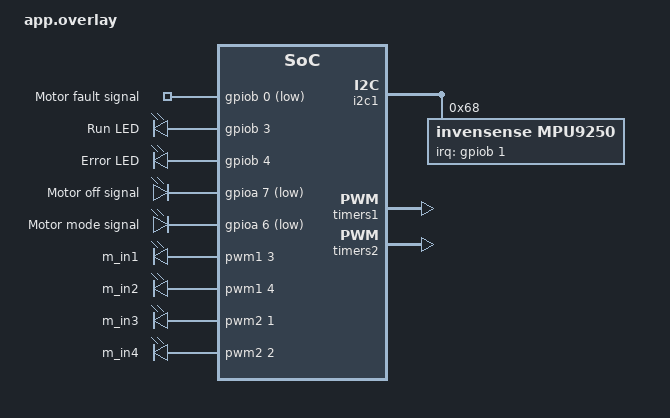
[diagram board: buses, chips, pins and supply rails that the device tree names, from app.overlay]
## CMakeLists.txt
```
cmake_minimum_required(VERSION 3.20.0)
set(BOARD nucleo_l432kc)

find_package(Zephyr)
project(RBFPID-Balbot)

file(GLOB SRC src/*.cpp)
target_sources(app PRIVATE src/main.c  ${SRC})
set(gen_dir ${ZEPHYR_BINARY_DIR}/include/generated/)
```

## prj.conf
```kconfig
# language and library 
CONFIG_NEWLIB_LIBC=y
CONFIG_NEWLIB_LIBC_FLOAT_PRINTF=y
CONFIG_CPP=y
CONFIG_GLIBCXX_LIBCPP=y
CONFIG_CBPRINTF_FP_SUPPORT=y

# Logging conf
CONFIG_LOG=y
CONFIG_LOG_MODE_DEFERRED=y
CONFIG_LOG_FUNC_NAME_PREFIX_DBG=y
CONFIG_LOG_FUNC_NAME_PREFIX_ERR=y
CONFIG_LOG_FUNC_NAME_PREFIX_WRN=y

# Console
CONFIG_UART_CONSOLE=n

# Serial
CONFIG_SERIAL=y

# Memory
CONFIG_INIT_STACKS=y
CONFIG_MAIN_STACK_SIZE=2048
CONFIG_CODE_DATA_RELOCATION=n

# Kernel
CONFIG_REBOOT=y
CONFIG_EVENTS=y

# Sensor 
CONFIG_I2C=y
CONFIG_SENSOR=y
CONFIG_MPU9250=y

CONFIG_PWM=y
CONFIG_PWM_STM32=y
```

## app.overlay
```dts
&i2c1 {
    mpu9250@68 {
        compatible = "invensense,mpu9250";
        reg = <0x68>;
        status = "okay";
        irq-gpios = <&gpiob 1 GPIO_ACTIVE_HIGH>;
        gyro-sr-div = <0>;
        gyro-dlpf = <5>;
        gyro-fs = <250>;
        accel-fs = <2>;
        accel-dlpf = "5.05";
    };
};

&timers1 {
    status = "okay";

    pwm1: pwm {
        status = "okay";
        pinctrl-0 = <&tim1_ch3_pa10 &tim1_ch4_pa11>;
        pinctrl-names = "default";
    };

    qdec {
        compatible = "st,stm32-qdec";
        status = "disabled";
        pinctrl-0 = <&tim1_ch1_pa8 &tim1_ch2_pa9>;
        pinctrl-names = "default";
        st,counts-per-revolution = <1320>;
    };
};

&timers2 {
    status = "okay";

    pwm2: pwm {
        status = "okay";
        pinctrl-0 = <&tim2_ch1_pa5 &tim2_ch2_pa1>;
        pinctrl-names = "default";
    };
};

/ {
    buttons {
        compatible = "gpio-keys";
        m_fault: m_fault {
            gpios = <&gpiob 0 (GPIO_PULL_UP | GPIO_ACTIVE_LOW)>;
            label = "Motor fault signal";
        };
    };

    leds {
        compatible = "gpio-leds";
        run_led: led_pd1 {
            gpios = <&gpiob 3 GPIO_ACTIVE_HIGH>;
            label = "Run LED";
        };
        err_led: led_pd0 {
            gpios = <&gpiob 4 GPIO_ACTIVE_HIGH>;
            label = "Error LED";
        };
        m_off: out_pa7 {
            gpios = <&gpioa 7 GPIO_ACTIVE_LOW>;
            label = "Motor off signal";
        };
        m_mode: out_pa6 {
            gpios = <&gpioa 6 GPIO_ACTIVE_LOW>;
            label = "Motor mode signal";
        };
    };

    pwm-leds {
		compatible = "pwm-leds";
		status = "okay";
		m_in1: pwm_pa10 {
			pwms = <&pwm1 3 PWM_MSEC(1) PWM_POLARITY_NORMAL>;
		};
        m_in2: pwm_pa11 {
			pwms = <&pwm1 4 PWM_MSEC(1) PWM_POLARITY_NORMAL>;
		};
        m_in3: pwm_pa5 {
			pwms = <&pwm2 1 PWM_MSEC(1) PWM_POLARITY_NORMAL>;
		};
        m_in4: pwm_pa1 {
			pwms = <&pwm2 2 PWM_MSEC(1) PWM_POLARITY_NORMAL>;
		};
	};
};
```

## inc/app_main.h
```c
#ifndef RBFPIDBALBOT_APP_MAIN
#define RBFPIDBALBOT_APP_MAIN

#ifdef __cplusplus
extern "C" {
#endif

void AppMain(void);

#ifdef __cplusplus
}
#endif

#endif
```

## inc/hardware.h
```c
#ifndef RBFPIDBALBOT_HARDWARE
#define RBFPIDBALBOT_HARDWARE

/* zephyr device and driver */
#include <zephyr/device.h>
#include <zephyr/drivers/gpio.h>
#include <zephyr/drivers/pwm.h>
#include <zephyr/drivers/sensor.h>

/* std headers */
#include <array>

namespace RbfpidBalbot {
namespace hardware {

extern const struct gpio_dt_spec run_led, err_led, m_off, m_fault, m_mode;
extern const struct pwm_dt_spec m_in1, m_in2, m_in3, m_in4;
extern const struct device *imu, *serial;

int CheckHardware();
int InitHardware();
int ReadIMU(std::array<double, 3> &accel, std::array<double, 3> &gyro, std::array<double, 3> &magn);
int SetMotor(bool off, double percentile);
int SerialTx(uint8_t *buf, int len);

};  // namespace hardware
};  // namespace RbfpidBalbot

#endif
```

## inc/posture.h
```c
#ifndef RBFPIDBALBOT_POSTURE
#define RBFPIDBALBOT_POSTURE

#include <array>

//=====================================================================================================
// MahonyAHRS is from below with GPLv2
//=====================================================================================================
//
// Madgwick's implementation of Mayhony's AHRS algorithm.
// See: http://www.x-io.co.uk/open_source_ahrs_and_imu_algorithms
//
// Date			Author			Notes
// 29/09/2011	SOH Madgwick    Initial release
// 02/10/2011	SOH Madgwick	Optimised for reduced CPU load
//
//=====================================================================================================

namespace RbfpidBalbot {
namespace posture {
class MahonyAHRS {
 private:
  float dt_;
  float twoKp_, twoKi_;  // 2 * P, I gain
  std::array<float, 4> q_;  // quaternion of sensor frame relative to auxiliary frame
  std::array<float, 3> integralFB_;  // integral error terms scaled by Ki
  static float invSqrt(float x);

 public:
  MahonyAHRS(float dt, float Kp = 0.5, float Ki = 0.0);
  void Update(float gx, float gy, float gz, float ax, float ay, float az);
  void Update(float gx, float gy, float gz, float ax, float ay, float az,
              float mx, float my, float mz);
  std::array<float, 4> GetQuaternion();
  std::array<double, 3> GetEuler();
};
};  // namespace posture
};  // namespace RbfpidBalbot

#endif
```

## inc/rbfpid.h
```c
#ifndef RBFPIDBALBOT_RBFPID
#define RBFPIDBALBOT_RBFPID

#include "../Eigen/Dense"
#include <tuple>

namespace RbfpidBalbot {
namespace control {
class RBFPID {
 private:
  /* PID controller parameters */
  double ek_, ek1_, ek2_;  // e(k), e(k-1), e(k-2)
  double sumek_;
  double xc1_, xc2_, xc3_;  // xc(1), xc(2), xc(3)
  double u_, du_, u_limit_;
  double kp_, ki_, kd_;
  

  /* RBF NN parameters */
  const int n_, m_;
  Eigen::MatrixXd X_;               // input X [n x 1]
  Eigen::MatrixXd Ck_, Ck1_, Ck2_;  // center vector C [m x n]
  Eigen::MatrixXd H_;               // radial vector [m x 1]
  Eigen::MatrixXd Bk_, Bk1_, Bk2_;  // radial width vector B [m x 1]
  Eigen::MatrixXd Wk_, Wk1_, Wk2_;  // weight vector W [m x 1]
  double yk_, yk1_;                 // output of plant
  double ym_;                       // output of RBF NN
  double J_;                        // jacobian information of RBF NN
  double lr_, mg_, gain_mg_;        // learning rate and momentum factor
 public:
  /**
   * @brief Construct a new RBFPID object
   *
   * @param n size of input
   * @param m size of hidden
   * @param mg momentum factor
   * @param gain_mg momentum factor for only PID gain changing
   * @param lr learning rate
   * @param init_kp initial P gain
   * @param init_ki initial I gain
   * @param init_kd initial D gain
   * @param u_limit reset threshold of abs(output)
   * @param init_rbf_width initial rbf nn width
   * @param init_rbf_weight initial rbf nn weight
   */
  RBFPID(int n, int m, double gain_mg, double init_kp, double init_ki,
         double init_kd, double u_limit, double init_rbf_width = 3.0,
         double init_rbf_weight = 0.01, double mg = 0.25, double lr = 0.05);
  /**
   * @brief Update controller
   *
   * @param e error (input of controller)
   * @param y result (output of plant)
   * @return double output (input of plant)
   */
  double Update(double e, double y);

  std::tuple<double, double, double> ReadGain();
};
};  // namespace control
};  // namespace RbfpidBalbot

#endif
```

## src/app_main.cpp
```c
#include "../inc/app_main.h"

#include <stdio.h>
#include <zephyr/kernel.h>
#include <zephyr/logging/log.h>

#include <string>
#include <vector>

#include "../inc/hardware.h"
#include "../inc/posture.h"
#include "../inc/rbfpid.h"

LOG_MODULE_REGISTER(app_main);

using namespace RbfpidBalbot;

void AppMain(void) {
  LOG_INF("hardware initialization start");
  if (int ret = hardware::CheckHardware(); ret < 0) {
    LOG_ERR("fail to check hardware, ret=%d", ret);
    gpio_pin_set_dt(&hardware::err_led, 1);
    return;
  }
  if (int ret = hardware::InitHardware(); ret < 0) {
    LOG_ERR("fail to initiate hardware, ret=%d", ret);
    gpio_pin_set_dt(&hardware::err_led, 1);
    return;
  }
  LOG_INF("hardware initialization complete");

  /* application logic */
  LOG_INF("application started");
  LOG_INF("RBF-PID Balbot");

  const int dt_ms = 2;
  const double u_motor_factor = 500;
  std::array<double, 3> d_accel, d_gyro, d_magn, euler;
  std::array<float, 3> f_accel, f_gyro, f_magn;
  std::array<float, 4> quad;
  posture::MahonyAHRS mahony((float)dt_ms / 1000, 100, 100);
  control::RBFPID pid(3, 8, pow(10, 4), 100, 300, 10, u_motor_factor * 0.9);
  long i = 0;
  double u, uf;
  char telemetry[100];
  auto gain = pid.ReadGain();

  for (;;) {
    k_sleep(K_MSEC(dt_ms));
    i++;

    if (int ret = hardware::ReadIMU(d_accel, d_gyro, d_magn); ret < 0) {
      LOG_ERR("fail to read IMU, ret=%d", ret);
      gpio_pin_set_dt(&hardware::err_led, 1);
      continue;
    }

    for (int i = 0; i < 3; i++) {
      f_accel[i] = (float)d_accel[i];
      f_gyro[i] = (float)d_accel[i];
      f_magn[i] = (float)d_magn[i];
    }

    mahony.Update(f_gyro[0], f_gyro[1], f_gyro[2], f_accel[0], f_accel[1],
                  f_accel[2], f_magn[0], f_magn[1], f_magn[2]);
    euler = mahony.GetEuler();
    quad = mahony.GetQuaternion();
    u = pid.Update(-euler[0], euler[0]);
    uf = (u / u_motor_factor);  //+ (u >= 0 ? 0.3 : -0.3);
    hardware::SetMotor(false, uf);
    if (i % 50 == 0) {
      LOG_INF("e %6f u %6f uf %6f", -euler[0], u, uf);
      gpio_pin_toggle_dt(&hardware::run_led);
      gain = pid.ReadGain();
      sprintf(telemetry, "%.2f,%.2f,%.2f,%.2f,%.2f,%.2f\n",
              (float)k_uptime_get() / 1000.0F, -euler[0], uf, std::get<0>(gain),
              std::get<1>(gain), std::get<2>(gain));
      hardware::SerialTx((uint8_t*)telemetry, strlen(telemetry));
      // LOG_INF("q %f %f %f %f", quad[0], quad[1], quad[2], quad[3]);
    }
  }
}
```

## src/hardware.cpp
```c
#include "../inc/hardware.h"

#include <errno.h>
#include <stdint.h>
#include <zephyr/drivers/uart.h>
#include <zephyr/logging/log.h>

#include <cmath>
#include <vector>

LOG_MODULE_REGISTER(hardware);

using namespace RbfpidBalbot;

const struct gpio_dt_spec hardware::run_led =
    GPIO_DT_SPEC_GET(DT_NODELABEL(run_led), gpios);
const struct gpio_dt_spec hardware::err_led =
    GPIO_DT_SPEC_GET(DT_NODELABEL(err_led), gpios);

const struct gpio_dt_spec hardware::m_off =
    GPIO_DT_SPEC_GET(DT_NODELABEL(m_off), gpios);
const struct gpio_dt_spec hardware::m_fault =
    GPIO_DT_SPEC_GET(DT_NODELABEL(m_fault), gpios);
const struct gpio_dt_spec hardware::m_mode =
    GPIO_DT_SPEC_GET(DT_NODELABEL(m_mode), gpios);

const struct pwm_dt_spec hardware::m_in1 = PWM_DT_SPEC_GET(DT_NODELABEL(m_in1));
const struct pwm_dt_spec hardware::m_in2 = PWM_DT_SPEC_GET(DT_NODELABEL(m_in2));
const struct pwm_dt_spec hardware::m_in3 = PWM_DT_SPEC_GET(DT_NODELABEL(m_in3));
const struct pwm_dt_spec hardware::m_in4 = PWM_DT_SPEC_GET(DT_NODELABEL(m_in4));

const struct device *hardware::serial = DEVICE_DT_GET(DT_NODELABEL(usart2));
const struct device *hardware::imu = DEVICE_DT_GET_ONE(invensense_mpu9250);

int hardware::CheckHardware() {
  /*
  check_list is pointer array of device struct and kChecklistSize define its
  size. CPP container is intentionally hestatied because it's system initialize
  code
  */
  std::vector<const device *> check_list = {
      run_led.port, err_led.port, imu,       m_off.port,
      m_fault.port, m_in1.dev,    m_in2.dev, serial};

  for (const auto l : check_list) {
    if (l == NULL) return -EINVAL;
    if (!device_is_ready(l)) return -ENODEV;
  }
  return 0;
}

int hardware::InitHardware() {
  gpio_pin_configure_dt(&hardware::run_led, GPIO_OUTPUT);
  gpio_pin_configure_dt(&hardware::err_led, GPIO_OUTPUT);
  gpio_pin_configure_dt(&hardware::m_off, GPIO_OUTPUT);
  gpio_pin_configure_dt(&hardware::m_fault, GPIO_INPUT);
  gpio_pin_configure_dt(&hardware::m_mode, GPIO_OUTPUT);
  gpio_pin_set_dt(&hardware::m_mode, 1);  // m_mode is active low

  struct uart_config uart_cfg = {
      .baudrate = 9600,
      .parity = UART_CFG_PARITY_NONE,
      .stop_bits = UART_CFG_STOP_BITS_1,
      .data_bits = UART_CFG_DATA_BITS_8,
      .flow_ctrl = UART_CFG_FLOW_CTRL_NONE,
  };
  return uart_configure(serial, &uart_cfg);
}

int hardware::ReadIMU(std::array<double, 3> &accel, std::array<double, 3> &gyro,
                      std::array<double, 3> &magn) {
  struct sensor_value tmp_a[3], tmp_g[3], tmp_m[3];
  int rc = sensor_sample_fetch(hardware::imu);

  if (rc == 0) {
    rc = sensor_channel_get(hardware::imu, SENSOR_CHAN_ACCEL_XYZ, tmp_a);
  }
  if (rc == 0) {
    rc = sensor_channel_get(hardware::imu, SENSOR_CHAN_GYRO_XYZ, tmp_g);
  }
  if (rc == 0) {
    rc = sensor_channel_get(hardware::imu, SENSOR_CHAN_MAGN_XYZ, tmp_m);
  }
  if (rc == 0) {
    for (int i = 0; i < 3; i++) {
      accel[i] = sensor_value_to_double(&tmp_a[i]);
      gyro[i] = sensor_value_to_double(&tmp_g[i]);
      magn[i] = sensor_value_to_double(&tmp_m[i]);
    }
  } else {
    LOG_ERR("sample fetch/get failed: %d\n", rc);
  }
  return rc;
}

int hardware::SetMotor(bool off, double percentile) {
  static const double period = 1000.0;
  /* m_off is active low (nSLEEP) */
  if (off) {
    gpio_pin_set_dt(&hardware::m_off, 1);
  } else {
    uint32_t pulse = (uint32_t)(period * std::abs(percentile));
    gpio_pin_set_dt(&hardware::m_off, 0);
    if (pulse >= (uint32_t)period) pulse = (uint32_t)period;

    /*
    IN1, 3 | IN2, 4
    0      | 0      - coast
    0      | 1      - reverse
    1      | 0      - forward
    1      | 1      - brake

    Left and Right motor attached at frame with counter direction
    */
    pwm_set_dt(&hardware::m_in1, (uint32_t)period, percentile <= 0 ? 0 : pulse);
    pwm_set_dt(&hardware::m_in2, (uint32_t)period, percentile >= 0 ? 0 : pulse);
    pwm_set_dt(&hardware::m_in3, (uint32_t)period, percentile >= 0 ? 0 : pulse);
    pwm_set_dt(&hardware::m_in4, (uint32_t)period, percentile <= 0 ? 0 : pulse);
  }
  return 0;
}

int hardware::SerialTx(uint8_t *buf, int len) {
  for (int i = 0; i < len; i++) {
    uart_poll_out(serial, (unsigned char) buf[i]);
  }
  return 0;
}
```

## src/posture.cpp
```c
#include "../inc/posture.h"

#include <zephyr/logging/log.h>

#include <cmath>

LOG_MODULE_REGISTER(posture);

using namespace std;
using namespace RbfpidBalbot;
using namespace RbfpidBalbot::posture;

MahonyAHRS::MahonyAHRS(float dt, float Kp, float Ki)
    : dt_(dt),
      twoKp_(2 * Kp),
      twoKi_(2 * Ki),
      integralFB_({0.0, 0.0, 0.0}),
      q_({1.0, 0.0, 0.0, 0.0}) {}

void MahonyAHRS::Update(float gx, float gy, float gz, float ax, float ay,
                        float az) {
  float recipNorm;
  float halfvx, halfvy, halfvz;
  float halfex, halfey, halfez;
  float qa, qb, qc;

  // Compute feedback only if accelerometer measurement valid (avoids NaN in
  // accelerometer normalisation)
  if (!((ax == 0.0f) && (ay == 0.0f) && (az == 0.0f))) {
    // Normalise accelerometer measurement
    recipNorm = invSqrt(ax * ax + ay * ay + az * az);
    ax *= recipNorm;
    ay *= recipNorm;
    az *= recipNorm;

    // Estimated direction of gravity and vector perpendicular to magnetic flux
    halfvx = q_[1] * q_[3] - q_[0] * q_[2];
    halfvy = q_[0] * q_[1] + q_[2] * q_[3];
    halfvz = q_[0] * q_[0] - 0.5f + q_[3] * q_[3];

    // Error is sum of cross product between estimated and measured direction of
    // gravity
    halfex = (ay * halfvz - az * halfvy);
    halfey = (az * halfvx - ax * halfvz);
    halfez = (ax * halfvy - ay * halfvx);

    // Compute and apply integral feedback if enabled
    if (twoKi_ > 0.0f) {
      integralFB_[0] += twoKi_ * halfex * dt_;  // integral error scaled by Ki
      integralFB_[1] += twoKi_ * halfey * dt_;
      integralFB_[2] += twoKi_ * halfez * dt_;
      gx += integralFB_[0];  // apply integral feedback
      gy += integralFB_[1];
      gz += integralFB_[2];
    } else {
      integralFB_[0] = 0.0f;  // prevent integral windup
      integralFB_[1] = 0.0f;
      integralFB_[2] = 0.0f;
    }

    // Apply proportional feedback
    gx += twoKp_ * halfex;
    gy += twoKp_ * halfey;
    gz += twoKp_ * halfez;
  }

  // Integrate rate of change of quaternion
  gx *= (0.5f * dt_);  // pre-multiply common factors
  gy *= (0.5f * dt_);
  gz *= (0.5f * dt_);
  qa = q_[0];
  qb = q_[1];
  qc = q_[2];
  q_[0] += (-qb * gx - qc * gy - q_[3] * gz);
  q_[1] += (qa * gx + qc * gz - q_[3] * gy);
  q_[2] += (qa * gy - qb * gz + q_[3] * gx);
  q_[3] += (qa * gz + qb * gy - qc * gx);

  // Normalise quaternion
  recipNorm =
      invSqrt(q_[0] * q_[0] + q_[1] * q_[1] + q_[2] * q_[2] + q_[3] * q_[3]);
  q_[0] *= recipNorm;
  q_[1] *= recipNorm;
  q_[2] *= recipNorm;
  q_[3] *= recipNorm;
}

void MahonyAHRS::Update(float gx, float gy, float gz, float ax, float ay,
                        float az, float mx, float my, float mz) {
  float recipNorm;
  float q0q0, q0q1, q0q2, q0q3, q1q1, q1q2, q1q3, q2q2, q2q3, q3q3;
  float hx, hy, bx, bz;
  float halfvx, halfvy, halfvz, halfwx, halfwy, halfwz;
  float halfex, halfey, halfez;
  float qa, qb, qc;

  // Use IMU algorithm if magnetometer measurement invalid (avoids NaN in
  // magnetometer normalisation)
  if ((mx == 0.0f) && (my == 0.0f) && (mz == 0.0f)) {
    Update(gx, gy, gz, ax, ay, az);
    return;
  }

  // Compute feedback only if accelerometer measurement valid (avoids NaN in
  // accelerometer normalisation)
  if (!((ax == 0.0f) && (ay == 0.0f) && (az == 0.0f))) {
    // Normalise accelerometer measurement
    recipNorm = invSqrt(ax * ax + ay * ay + az * az);
    ax *= recipNorm;
    ay *= recipNorm;
    az *= recipNorm;

    // Normalise magnetometer measurement
    recipNorm = invSqrt(mx * mx + my * my + mz * mz);
    mx *= recipNorm;
    my *= recipNorm;
    mz *= recipNorm;

    // Auxiliary variables to avoid repeated arithmetic
    q0q0 = q_[0] * q_[0];
    q0q1 = q_[0] * q_[1];
    q0q2 = q_[0] * q_[2];
    q0q3 = q_[0] * q_[3];
    q1q1 = q_[1] * q_[1];
    q1q2 = q_[1] * q_[2];
    q1q3 = q_[1] * q_[3];
    q2q2 = q_[2] * q_[2];
    q2q3 = q_[2] * q_[3];
    q3q3 = q_[3] * q_[3];

    // Reference direction of Earth's magnetic field
    hx = 2.0f *
         (mx * (0.5f - q2q2 - q3q3) + my * (q1q2 - q0q3) + mz * (q1q3 + q0q2));
    hy = 2.0f *
         (mx * (q1q2 + q0q3) + my * (0.5f - q1q1 - q3q3) + mz * (q2q3 - q0q1));
    bx = sqrt(hx * hx + hy * hy);
    bz = 2.0f *
         (mx * (q1q3 - q0q2) + my * (q2q3 + q0q1) + mz * (0.5f - q1q1 - q2q2));

    // Estimated direction of gravity and magnetic field
    halfvx = q1q3 - q0q2;
    halfvy = q0q1 + q2q3;
    halfvz = q0q0 - 0.5f + q3q3;
    halfwx = bx * (0.5f - q2q2 - q3q3) + bz * (q1q3 - q0q2);
    halfwy = bx * (q1q2 - q0q3) + bz * (q0q1 + q2q3);
    halfwz = bx * (q0q2 + q1q3) + bz * (0.5f - q1q1 - q2q2);

    // Error is sum of cross product between estimated direction and measured
    // direction of field vectors
    halfex = (ay * halfvz - az * halfvy) + (my * halfwz - mz * halfwy);
    halfey = (az * halfvx - ax * halfvz) + (mz * halfwx - mx * halfwz);
    halfez = (ax * halfvy - ay * halfvx) + (mx * halfwy - my * halfwx);

    // Compute and apply integral feedback if enabled
    if (twoKi_ > 0.0f) {
      integralFB_[0] += twoKi_ * halfex * dt_;  // integral error scaled by Ki
      integralFB_[1] += twoKi_ * halfey * dt_;
      integralFB_[2] += twoKi_ * halfez * dt_;
      gx += integralFB_[0];  // apply integral feedback
      gy += integralFB_[1];
      gz += integralFB_[2];
    } else {
      integralFB_[0] = 0.0f;  // prevent integral windup
      integralFB_[1] = 0.0f;
      integralFB_[2] = 0.0f;
    }

    // Apply proportional feedback
    gx += twoKp_ * halfex;
    gy += twoKp_ * halfey;
    gz += twoKp_ * halfez;
  }

  // Integrate rate of change of quaternion
  gx *= (0.5f * dt_);  // pre-multiply common factors
  gy *= (0.5f * dt_);
  gz *= (0.5f * dt_);
  qa = q_[0];
  qb = q_[1];
  qc = q_[2];
  q_[0] += (-qb * gx - qc * gy - q_[3] * gz);
  q_[1] += (qa * gx + qc * gz - q_[3] * gy);
  q_[2] += (qa * gy - qb * gz + q_[3] * gx);
  q_[3] += (qa * gz + qb * gy - qc * gx);

  // Normalise quaternion
  recipNorm =
      invSqrt(q_[0] * q_[0] + q_[1] * q_[1] + q_[2] * q_[2] + q_[3] * q_[3]);
  q_[0] *= recipNorm;
  q_[1] *= recipNorm;
  q_[2] *= recipNorm;
  q_[3] *= recipNorm;
}

float MahonyAHRS::invSqrt(float x) {
  float halfx = 0.5f * x;
  float y = x;
  long i = *(long*)&y;
  i = 0x5f3759df - (i >> 1);
  y = *(float*)&i;
  y = y * (1.5f - (halfx * y * y));
  return y;
}

array<float, 4> MahonyAHRS::GetQuaternion() { return q_; }

// from :
// https://github.com/brztitouan/euler-angles-quaternions-library-conversion/blob/fa075d741d6aa84c02a3052d61116e04e5ec7943/src/euler.cpp#L30
// TODO : Update LICENSE about it
array<double, 3> MahonyAHRS::GetEuler() {
  const double q00 = q_[0] * q_[0];
  const double q11 = q_[1] * q_[1];
  const double q22 = q_[2] * q_[2];
  const double q33 = q_[3] * q_[3];
  const double unitLength =
      q00 + q11 + q22 + q33;  // Normalised == 1, otherwise correction divisor.
  const double abcd = q_[0] * q_[1] + q_[2] * q_[3];
  const double eps =
      1e-7;  // TODO: pick from your math lib instead of hardcoding.
  const double pi = 3.14159265358979323846;  // TODO: pick from your math lib
                                             // instead of hardcoding.
  double yaw, pitch, roll;
  if (abcd > (0.5 - eps) * unitLength) {
    yaw = 2 * atan2(q_[2], q_[0]);
    pitch = pi;
    roll = 0;
  } else if (abcd < (-0.5 + eps) * unitLength) {
    yaw = -2 * ::atan2(q_[2], q_[0]);
    pitch = -pi;
    roll = 0;
  } else {
    const double adbc = q_[0] * q_[3] - q_[1] * q_[2];
    const double acbd = q_[0] * q_[2] - q_[1] * q_[3];
    yaw = ::atan2(2 * adbc, 1 - 2 * (q33 + q11));
    pitch = ::asin(2 * abcd / unitLength);
    roll = ::atan2(2 * acbd, 1 - 2 * (q22 + q11));
  }

  return std::array<double, 3> {pitch, roll, yaw};
}
```

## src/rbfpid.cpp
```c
#include "../inc/rbfpid.h"

#include <zephyr/logging/log.h>
#include <zephyr/zephyr.h>

#include <cmath>

LOG_MODULE_REGISTER(control);

using namespace RbfpidBalbot::control;
using namespace Eigen;

RBFPID::RBFPID(int n, int m, double gain_mg, double init_kp, double init_ki,
               double init_kd, double u_limit, double init_rbf_width,
               double init_rbf_weight, double mg, double lr)
    : n_(n),
      m_(m),
      ek1_(0.0),
      ek2_(0.0),
      sumek_(0.0),
      u_(0.0),
      du_(0.0),
      kp_(init_kp),
      ki_(init_ki),
      kd_(init_kd),
      X_(1, n),
      Ck_(m, n),
      Ck1_(m, n),
      Ck2_(m, n),
      H_(m, 1),
      Bk_(m, 1),
      Bk1_(m, 1),
      Bk2_(m, 1),
      Wk_(m, 1),
      Wk1_(m, 1),
      Wk2_(m, 1),
      yk1_(0),
      mg_(mg),
      lr_(lr),
      u_limit_(u_limit),
      gain_mg_(gain_mg) {
  X_ = MatrixXd::Zero(1, n);
  Ck_ = MatrixXd::Zero(m, n);
  Ck1_ = MatrixXd::Zero(m, n);
  Ck2_ = MatrixXd::Zero(m, n);
  H_ = MatrixXd::Zero(m, 1);
  Bk_ = init_rbf_width * MatrixXd::Ones(m, 1) + MatrixXd::Random(m, 1);
  Bk1_ = Bk_;
  Bk2_ = Bk_;
  Wk_ = init_rbf_weight * MatrixXd::Ones(m, 1);
  Wk1_ = Wk_;
  Wk2_ = Wk_;
}

double RBFPID::Update(double e, double y) {
  /* set input vector*/
  yk_ = y;
  X_(0) = u_;
  X_(1) = yk_;
  X_(2) = yk1_;

  /* calculate centor vector */
  for (int j = 0; j < m_; j++) {
    auto dist = (X_ - Ck_.row(j)).squaredNorm();
    H_(j) = exp(-(pow(dist, 2)) / (2 * pow(Bk_(j), 2)));
  }

  /* calculate RBF NN parameters */
  ym_ = (Wk_.transpose() * H_).value();
  for (int j = 0; j < m_; j++) {
    auto dWk = mg_ * (yk_ - ym_) * H_(j);
    Wk_(j) = Wk1_(j) + dWk + lr_ * (Wk1_(j) - Wk2_(j));
    auto dBk = mg_ * (yk_ - ym_) * Wk_(j) * H_(j) *
               ((X_ - Ck_.row(j)).norm() / pow(Bk_(j), 3));
    Bk_(j) = Bk1_(j) + dBk + lr_ * (Bk1_(j) - Bk2_(j));
    for (int i = 0; i < n_; i++) {
      auto dCk =
          mg_ * (yk_ - ym_) * Wk_(j) * ((X_(i) - Ck_(j, i)) / pow(Bk_(j), 2));
      Ck_(j, i) = Ck1_(j, i) + dCk + lr_ * (Ck1_(j, i) - Ck2_(j, i));
    }
  }

  /* calculate RBF NN J */
  J_ = 0;
  for (int j = 0; j < m_; j++) {
    J_ = J_ + Wk_(j) * H_(j) * ((Ck_(j, 1) - X_(1)) / pow(Bk_(j), 2));
  }

  /* ek is current error */
  ek_ = e;
  sumek_ = sumek_ + ek_;

  /* calculate controller input */
  xc1_ = ek_ - ek1_;
  xc2_ = ek_;
  xc3_ = ek_ - 2 * ek1_ + ek2_;

  /* update PID gain */
  kp_ = kp_ + gain_mg_ * mg_ * ek_ * J_ * xc1_;
  ki_ = ki_ + gain_mg_ * mg_ * ek_ * J_ * xc2_;
  kd_ = kd_ + gain_mg_ * mg_ * ek_ * J_ * xc3_;

  if (kp_ < 0) kp_ = 0;
  if (ki_ < 0) ki_ = 0;
  if (kd_ < 0) ki_ = 0;

  /* calculate pid output */
  du_ = kp_ * xc1_ + ki_ * xc2_ + kd_ * xc3_;
  u_ = u_ + du_;
  if (abs(u_) > u_limit_) {
    u_ = du_;
  }

  /* in final, proceed time k, shift */
  ek1_ = ek_;
  ek2_ = ek1_;
  yk1_ = yk_;
  Ck1_ = Ck_;
  Ck2_ = Ck1_;
  Bk1_ = Bk_;
  Bk2_ = Bk1_;
  Wk1_ = Wk_;
  Wk2_ = Wk1_;

  return u_;
}

std::tuple<double, double, double> RBFPID::ReadGain() {
  return std::make_tuple(kp_, ki_, kd_);
}
```
